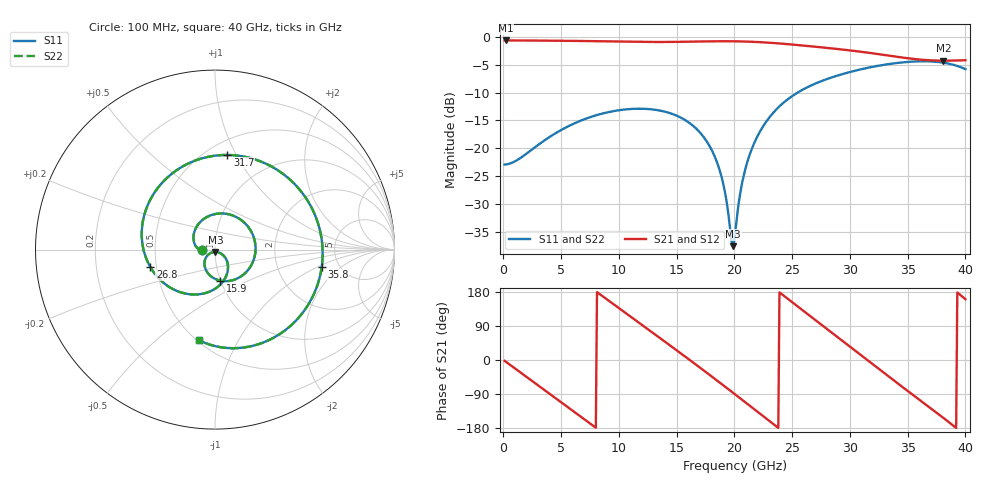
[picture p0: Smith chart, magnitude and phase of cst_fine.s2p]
! C_s8_ap600: L1→L8, antipad Ø0.6 on every plane
! stackup: 8-layer 1.6 mm FR-4 (generic)
! ports: 1, 2
! CST Studio Suite 2025.5 Release from 2025-05-30, time domain (FIT, hexahedral, PBA), 386496 mesh cells, 73 s
! mesh: {'lpw': 30.0, 'lpb': 30.0, 'minstep': 0.0, 'ratio': 20}; ports: port 1 (face); port 2 (face)
! interpolated from CST's 1001 samples to the case grid
# Hz S RI R 50
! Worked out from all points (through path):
!   400 points, 100 MHz to 40 GHz, reference 50 ohm
!   highest |S21| = -0.64 dB at 200 MHz (marker M1); lowest = -4.3 dB at 38.1 GHz (marker M2)
!   group delay of S21, straight-line fit = 63.9 ps
!   lowest |S11| = -37.6 dB at 19.9 GHz (marker M3), VSWR 1.03, Z = 50.2 - j1.31 ohm
!   |S11| at or under -10 dB: start of sweep to 25.47 GHz
!   |S22| runs from -37.6 to -4.4 dB; largest |S21 - S12| = 4.5e-07
!   S11 on the Smith chart (normalised r, x): 100 MHz: 0.87, -0.00; 15.9 GHz: 0.99, -0.35; 26.8 GHz: 0.46, -0.11; 31.7 GHz: 0.63, +0.92; 35.8 GHz: 3.67, -1.12; 40 GHz: 0.51, -0.70
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1e8  -0.0714 -0.000362  0.9279 -0.0362  0.9279 -0.0362  -0.0714 -0.000362
2e8  -0.0716 -0.000717  0.9258 -0.0723  0.9258 -0.0723  -0.0716 -0.000717
3.6e9  -0.114 0.0328  0.1543 -0.9126  0.1543 -0.9126  -0.114 0.0328
6.8e9  -0.0707 0.1644  -0.8096 -0.433  -0.8096 -0.433  -0.0707 0.1644
8.6e9  0.041 0.2014  -0.892 0.1899  -0.892 0.1899  0.041 0.2014
1.06e10  0.179 0.1337  -0.4989 0.7546  -0.4989 0.7546  0.179 0.1337
1.34e10  0.1993 -0.0919  0.4321 0.7887  0.4321 0.7887  0.1993 -0.0919
1.59e10  0.0273 -0.1726  0.9008 0.0836  0.9008 0.0836  0.0273 -0.1726
1.85e10  -0.0538 -0.0516  0.5335 -0.7413  0.5335 -0.7413  -0.0538 -0.0516
1.99e10  0.00195 -0.0131  0.0482 -0.9115  0.0482 -0.9115  0.00195 -0.0131
2.01e10  0.0124 -0.0141  -0.0267 -0.9118  -0.0267 -0.9118  0.0124 -0.0141
2.12e10  0.0614 -0.0518  -0.4203 -0.8029  -0.4203 -0.8029  0.0614 -0.0519
2.34e10  0.012 -0.2102  -0.8664 -0.1573  -0.8664 -0.1573  0.012 -0.2102
2.49e10  -0.1493 -0.2478  -0.7745 0.3629  -0.7745 0.3629  -0.1493 -0.2478
2.67e10  -0.3515 -0.1115  -0.3157 0.7584  -0.3157 0.7584  -0.3516 -0.1114
2.68e10  -0.3596 -0.0983  -0.2838 0.769  -0.2838 0.769  -0.3596 -0.0983
2.89e10  -0.3764 0.2439  0.378 0.6808  0.378 0.6808  -0.3764 0.244
3.17e10  0.0683 0.5273  0.7158 -0.062  0.7158 -0.062  0.0684 0.5273
3.34e10  0.4107 0.3962  0.482 -0.4769  0.482 -0.4769  0.4107 0.3962
3.58e10  0.5945 -0.097  -0.1071 -0.6201  -0.1071 -0.6201  0.5945 -0.0971
3.81e10  0.2992 -0.5047  -0.544 -0.2793  -0.544 -0.2793  0.2992 -0.5047
4e10  -0.0864 -0.5062  -0.5818 0.2057  -0.5818 0.2057  -0.0865 -0.5062
